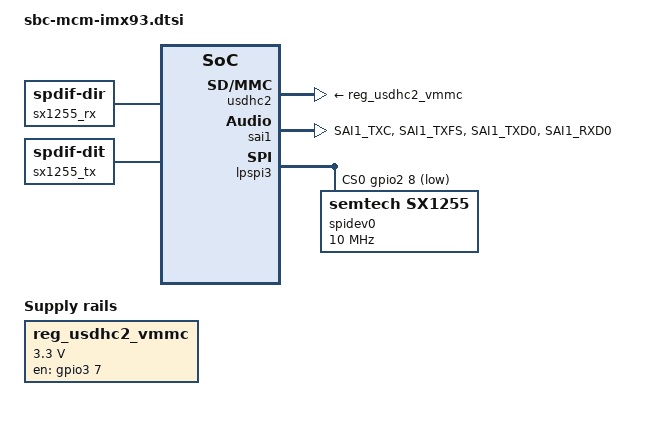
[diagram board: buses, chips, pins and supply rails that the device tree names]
// TODO -> Needed?
&iomuxc {
	pinctrl_sai1: sai1grp {
		fsl,pins = <
			MX93_PAD_SAI1_TXC__SAI1_TX_BCLK			0x31e
			MX93_PAD_SAI1_TXFS__SAI1_TX_SYNC		0x31e
			MX93_PAD_SAI1_TXD0__SAI1_TX_DATA00		0x31e
			MX93_PAD_SAI1_RXD0__SAI1_RX_DATA00		0x31e
		>;
	};
};

// sd for 3.3v
/* USDHC2 node (SD card interface) */
&usdhc2 {
    vmmc-supply = <&reg_usdhc2_vmmc>;
    regulator-always-on;  /* Critical: Forces 3.3V rail to stay enabled */
    no-1-8-v;            /* Maintains 3.3V operation (disables 1.8V switching) */
    status = "okay";
};

/* Regulator definition (if not already present) */
&reg_usdhc2_vmmc {
    compatible = "regulator-fixed";
    pinctrl-names = "default";
    pinctrl-0 = <&pinctrl_reg_usdhc2_vmmc>;
    regulator-name = "VSD_3V3";
    regulator-min-microvolt = <3300000>;
    regulator-max-microvolt = <3300000>;
    gpio = <&gpio3 7 GPIO_ACTIVE_LOW>;
    enable-active-high;
    regulator-always-on;   // <-- Add this line!
};

// I2S0
&sai1 {
	#sound-dai-cells = <0>;
	pinctrl-names = "default";
	pinctrl-0 = <&pinctrl_sai1>;
	//assigned-clocks = <&clk IMX93_CLK_SAI1>;
	//assigned-clock-parents = <&clk IMX93_CLK_AUDIO_PLL>;
	//assigned-clock-rates = <12288000>;
	//fsl,sai-mclk-direction-output;
	status = "okay";
};

// TODO -> Maybe needed because of pin conflict with SPI
&sai3 {
    status = "disabled";
};

&lpspi3 {
	fsl,spi-num-chipselects = <1>;
	pinctrl-names = "default", "sleep";
	pinctrl-0 = <&pinctrl_lpspi3>;
	pinctrl-1 = <&pinctrl_lpspi3>;
	cs-gpios = <&gpio2 8 GPIO_ACTIVE_LOW>;
	dmas = <&edma2 12 0 0>, <&edma2 13 0 1>;
	dma-names = "tx", "rx";
	status = "okay";

	spidev0: spi@0 {
		reg = <0>;
		compatible = "semtech,sx1255";
		spi-max-frequency = <10000000>;
	};
};


&{/} {
    sound {
        compatible = "simple-audio-card";
        simple-audio-card,name = "SX1255";
        #address-cells = <1>;
        #size-cells = <0>;
        status = "okay";

        /* RX (I/Q input from SX1255) */
        simple-audio-card,dai-link@0 {
            reg = <0>;
            format = "i2s";
            bitclock-master = <&sx1255_codec>;
            frame-master = <&sx1255_codec>;
            
            cpu {
                sound-dai = <&sai1>;
            };
            
            sx1255_codec: codec {
                sound-dai = <&sx1255_rx>;
            };
        };

        /* TX (I/Q output to SX1255) */
        simple-audio-card,dai-link@1 {
            reg = <1>;
            format = "i2s";
            bitclock-master = <&sx1255_tx_codec>;
            frame-master = <&sx1255_tx_codec>;
            
            cpu {
                sound-dai = <&sai1>;
            };
            
            sx1255_tx_codec: codec {
                sound-dai = <&sx1255_tx>;
            };
        };
    };

    /* SX1255 I/Q receive codec */
    sx1255_rx: sx1255-rx {
        compatible = "linux,spdif-dir";
        #sound-dai-cells = <0>;
        status = "okay";
    };

    /* SX1255 I/Q transmit codec */
    sx1255_tx: sx1255-tx {
        compatible = "linux,spdif-dit";
        #sound-dai-cells = <0>;
        status = "okay";
    };
};



